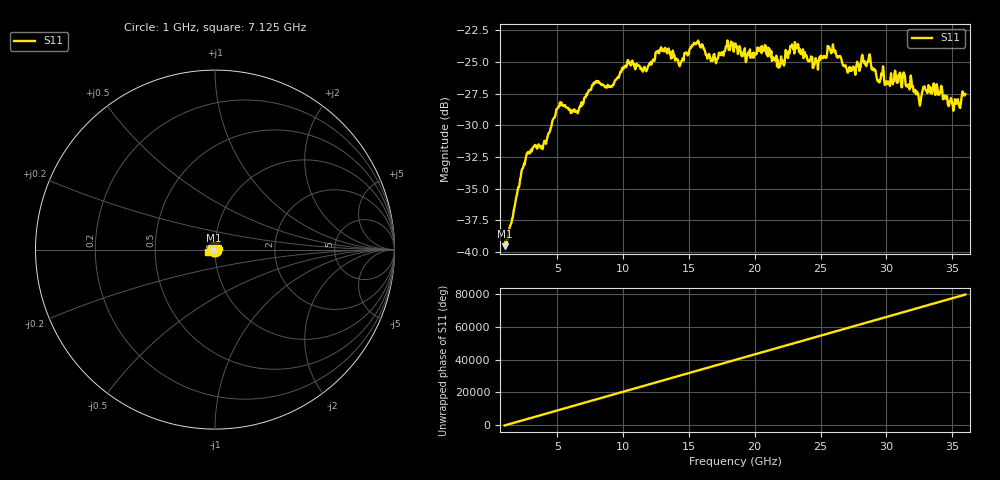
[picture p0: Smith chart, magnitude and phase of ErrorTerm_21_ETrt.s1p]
!  1-Port S-parameters saved by WinCal
! VAR NAME=2-Port LRRM (Conv to 12) labuser
! VAR Error Term Name=ETrt phys rcv port 2 phys src port 1
# Hz S RI R 50
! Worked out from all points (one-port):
!   801 points, 1 GHz to 36 GHz, reference 50 ohm
!   lowest |S11| = -39.5 dB at 1 GHz (marker M1), VSWR 1.02, Z = 49.1 - j0.566 ohm
!   |S11| at or under -10 dB: start of sweep to end of sweep
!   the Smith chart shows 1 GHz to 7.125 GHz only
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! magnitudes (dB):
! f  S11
! 1 GHz  -39.5
! 2.619 GHz  -32.5
! 4.019 GHz  -31.2
! 5.375 GHz  -28.4
! 6.513 GHz  -28.9
! 7.825 GHz  -26.7
! 9.094 GHz  -27.0
! 9.75 GHz  -26.0
! 10.54 GHz  -25.1
! 11.68 GHz  -25.6
! 13.03 GHz  -24.0
! 14.12 GHz  -24.8
! 15.57 GHz  -23.5
! 16.88 GHz  -24.4
! 18.5 GHz  -23.6
! 20.95 GHz  -24.0
! 21.87 GHz  -25.3
! 22.88 GHz  -23.9
! 24.62 GHz  -24.7
! 25.81 GHz  -24.3
! 27.25 GHz  -25.7
! 28.65 GHz  -24.8
! 29.39 GHz  -26.5
! 31.62 GHz  -26.9
! 32.5 GHz  -28.2
! 33.73 GHz  -27.6
! 35.17 GHz  -28.3
! 36 GHz  -27.5
